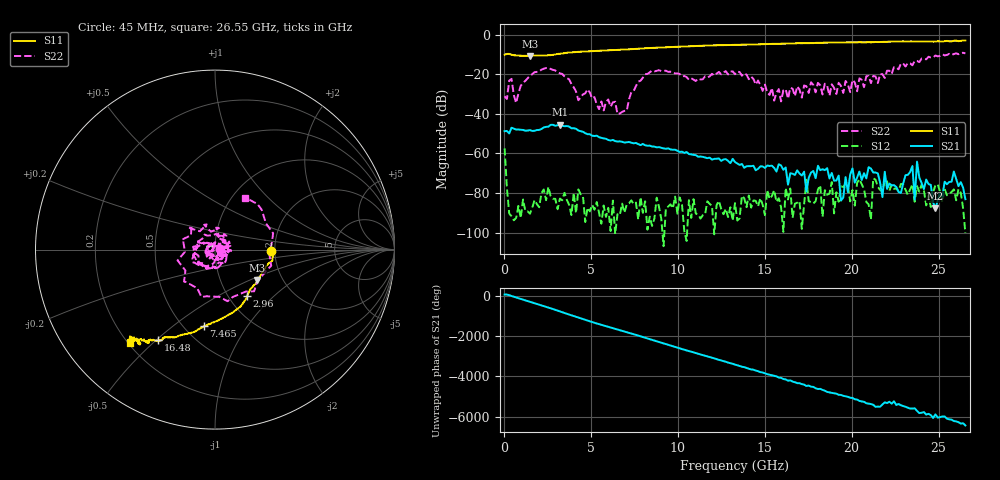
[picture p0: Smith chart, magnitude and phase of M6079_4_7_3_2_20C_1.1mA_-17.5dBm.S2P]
!  2-Port S-parameters saved by WinCal
! VAR MeasName=S-Parameters (CALIBRATED_DATA) read from VNA (C)
! VAR MeasDate=10/5/2015 4:47:20 PM
! VAR NAME=M6079_4_7_3_2_20C_1.1mA_-17.5dBm
! VAR FILENAME=M6079_4_7_3_2_20C_1.1mA_-17.5dBm.S2P
! VAR DATE=10/5/2015 4:47:20 PM
! VAR PHYS_PORTS=2,1
! VAR ObjTypeName=DATASET
! VAR IndexType=Frequency
# Hz S DB R 50
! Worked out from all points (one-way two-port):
!   201 points, 45 MHz to 26.55 GHz, reference 50 ohm
!   highest |S21| = -45.55 dB at 3.225 GHz (marker M1); lowest = -87.7 dB at 24.82 GHz (marker M2)
!   lowest |S11| = -10.8 dB at 1.502 GHz (marker M3), VSWR 1.82, Z = 74.8 - j27.5 ohm
!   |S11| at or under -10 dB: start of sweep to 101.8 MHz; 384.8 MHz to 2.976 GHz (2.591 GHz wide, 154 % of centre)
!   |S22| runs from -40.2 to -9.2 dB; largest |S21 - S12| = 0.0053
!   S11 on the Smith chart (normalised r, x): 45 MHz: 1.90, -0.03; 2.96 GHz: 1.22, -0.70; 7.465 GHz: 0.62, -0.65; 16.48 GHz: 0.33, -0.51; 26.55 GHz: 0.20, -0.43
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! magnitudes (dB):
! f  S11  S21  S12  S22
! 45 MHz  -10.2  -48.8  -57.5  -31.2
! 310 MHz  -9.8  -49.9  -90.4  -23.3
! 707.5 MHz  -10.5  -48.0  -92.6  -34.5
! 1.502 GHz  -10.8  -48.3  -90.5  -20.9
! 2.96 GHz  -10.0  -46.1  -83.0  -18.1
! 3.225 GHz  -9.7  -45.6  -82.8  -19.6
! 4.55 GHz  -8.6  -49.1  -81.4  -30.2
! 6.537 GHz  -7.8  -54.0  -90.7  -40.2
! 7.465 GHz  -7.3  -54.9  -85.6  -28.6
! 8.922 GHz  -6.6  -56.9  -86.9  -18.0
! 13.29 GHz  -5.2  -64.4  -85.1  -20.0
! 16.48 GHz  -4.5  -70.1  -77.8  -26.9
! 17.4 GHz  -4.3  -79.3  -73.3  -26.2
! 17.8 GHz  -4.3  -68.9  -85.4  -25.4
! 22.17 GHz  -3.6  -75.2  -78.9  -18.3
! 22.84 GHz  -3.5  -80.0  -75.5  -14.7
! 23.5 GHz  -3.4  -66.4  -75.6  -15.5
! 23.63 GHz  -3.5  -83.4  -84.5  -13.3
! 23.76 GHz  -3.5  -64.2  -76.5  -13.3
! 24.82 GHz  -3.5  -87.7  -76.1  -10.6
! 25.88 GHz  -3.1  -69.2  -78.2  -9.8
! 26.55 GHz  -3.0  -83.1  -100.2  -9.5
